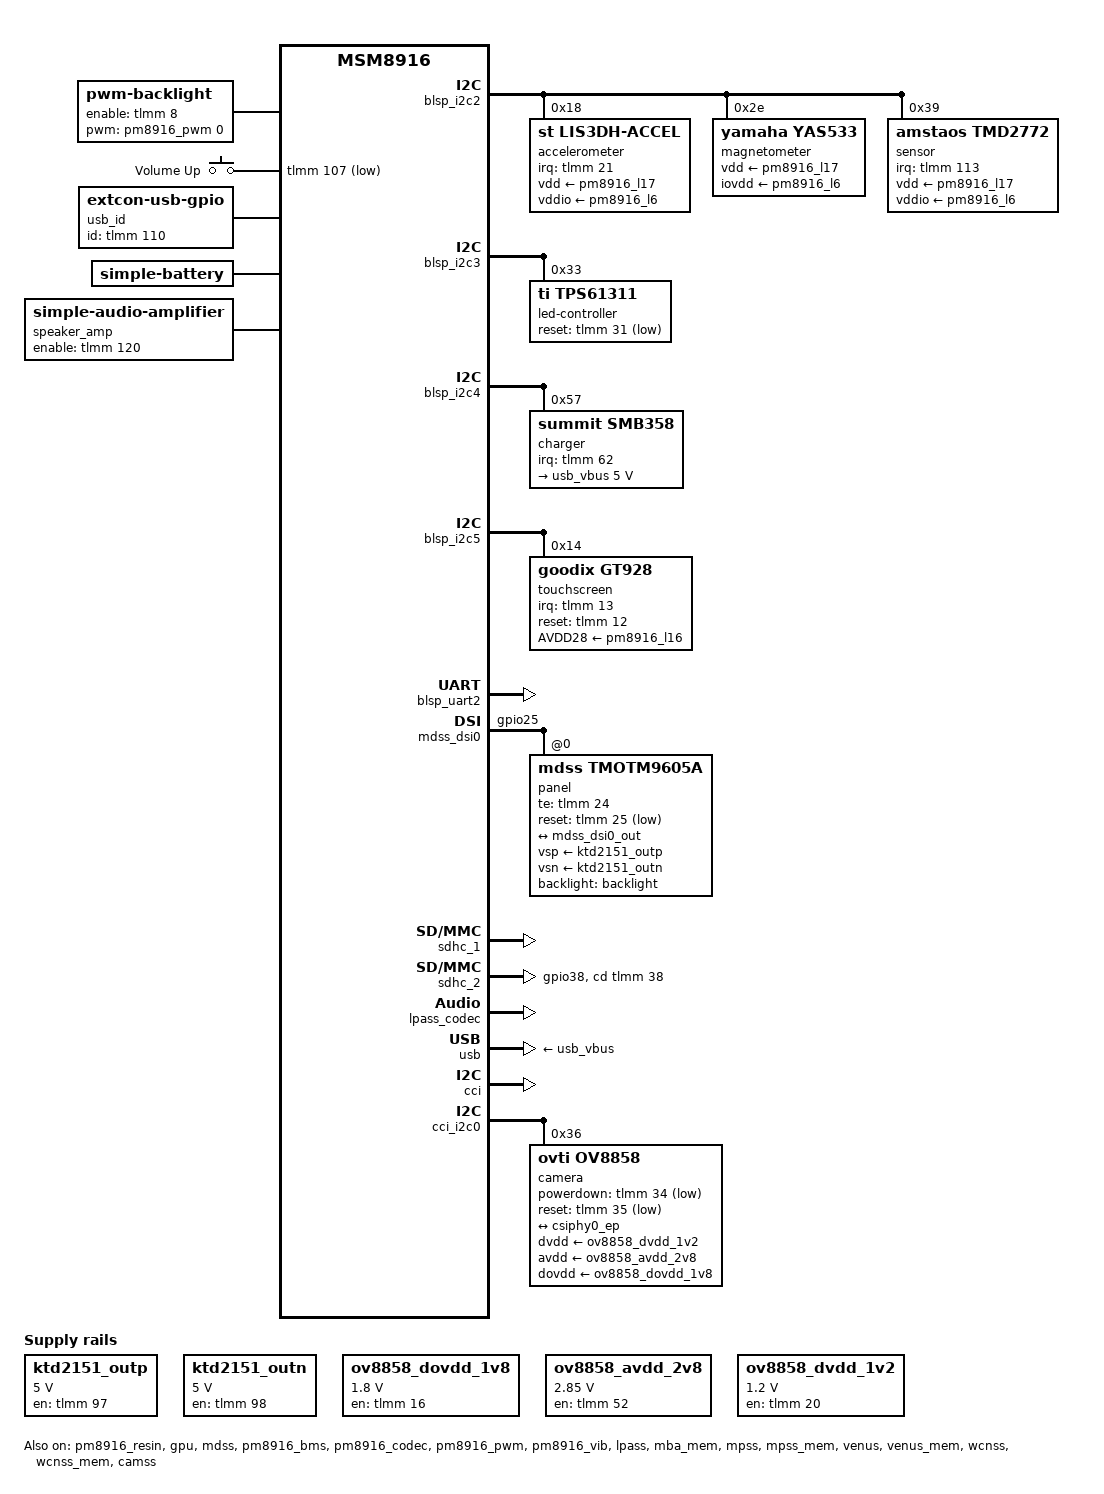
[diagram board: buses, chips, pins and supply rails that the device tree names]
// SPDX-License-Identifier: GPL-2.0-only

/dts-v1/;

#include "msm8916-pm8916.dtsi"
#include "msm8916-modem-qdsp6.dtsi"

#include <dt-bindings/gpio/gpio.h>
#include <dt-bindings/input/input.h>
#include <dt-bindings/interrupt-controller/irq.h>
#include <dt-bindings/leds/common.h>
#include <dt-bindings/pinctrl/qcom,pmic-gpio.h>
#include <dt-bindings/pinctrl/qcom,pmic-mpp.h>
#include <dt-bindings/power/summit,smb347-charger.h>
#include <dt-bindings/sound/apq8016-lpass.h>
#include <dt-bindings/sound/qcom,lpass.h>

/ {
	model = "";
	compatible = "qcom,msm8916";
	chassis-type = "handset";

	aliases {
		mmc0 = &sdhc_1; /* eMMC */
		mmc1 = &sdhc_2; /* SD card */
		serial0 = &blsp_uart2;
	};

	backlight: backlight {
		compatible = "pwm-backlight";
		pwms = <&pm8916_pwm 0 100000>;

		brightness-levels = <0 255>;
		num-interpolated-steps = <255>;
		default-brightness-level = <64>;

		pinctrl-names = "default";
		pinctrl-0 = <&lcd_bl_en_default>;
		enable-gpios = <&tlmm 8 GPIO_ACTIVE_HIGH>;
		post-pwm-on-delay-ms = <10>;
		pwm-off-delay-ms = <10>;
	};

	gpio-keys {
		compatible = "gpio-keys";

		pinctrl-names = "default";
		pinctrl-0 = <&gpio_keys_default>;

		label = "GPIO Buttons";

		button-volume-up {
			label = "Volume Up";
			gpios = <&tlmm 107 GPIO_ACTIVE_LOW>;
			linux,code = <KEY_VOLUMEUP>;
			debounce-interval = <15>;
		};
	};

	usb_id: usb-id {
		compatible = "linux,extcon-usb-gpio";
		id-gpios = <&tlmm 110 GPIO_ACTIVE_HIGH>;
		pinctrl-names = "default";
		pinctrl-0 = <&usb_id_default>;
	};

	battery: battery-cell {
		compatible = "simple-battery";
		over-voltage-threshold-microvolt = <4350000>;
		re-charge-voltage-microvolt = <3400000>;
		voltage-min-design-microvolt = <3450000>;
		voltage-max-design-microvolt = <4300000>;

		precharge-current-microamp = <200000>;
		precharge-upper-limit-microvolt = <3000000>;
		constant-charge-current-max-microamp = <1800000>;
		constant-charge-voltage-max-microvolt = <4250000>;
		trickle-charge-current-microamp = <0>;

		energy-full-design-microwatt-hours = <7600000>;
		charge-full-design-microamp-hours = <2000000>;

		ocv-capacity-celsius = <25>;
		ocv-capacity-table-0 = <4300000 100>, <4250000 95>, <4204000 90>,
			<4152000 85>, <4102000 80>, <4060000 75>, <3998000 70>,
			<3964000 65>, <3924000 60>, <3874000 55>, <3842000 50>,
			<3820000 45>, <3800000 40>, <3785000 35>, <3765000 30>,
			<3758000 25>, <3735000 20>, <3706000 16>, <3690000 13>,
			<3687000 11>, <3686000 10>, <3684000 9>, <3680000 8>,
			<3668000 7>, <3640000 6>, <3596000 5>, <3542000 4>,
			<3472000 3>, <3378000 2>, <3239000 1>, <3000000 0>;
	};

	ktd2151_outp: regulator-ktd2151-outp {
		compatible = "regulator-fixed";

		regulator-name = "ktd2151-outp";
		regulator-min-microvolt = <5000000>;
		regulator-max-microvolt = <5000000>;
		regulator-boot-on;

		gpio = <&tlmm 97 GPIO_ACTIVE_HIGH>;
		enable-active-high;

		pinctrl-names = "default";
		pinctrl-0 = <&lcd_enp_default>;
	};

	ktd2151_outn: regulator-ktd2151-outn {
		compatible = "regulator-fixed";

		regulator-name = "ktd2151-outn";
		regulator-min-microvolt = <5000000>;
		regulator-max-microvolt = <5000000>;
		regulator-boot-on;

		gpio = <&tlmm 98 GPIO_ACTIVE_HIGH>;
		enable-active-high;

		pinctrl-names = "default";
		pinctrl-0 = <&lcd_enn_default>;
	};

	ov8858_dovdd_1v8: regulator-ov8858-dovdd {
		compatible = "regulator-fixed";

		regulator-name = "ov8858_dovdd";
		regulator-min-microvolt = <1800000>;
		regulator-max-microvolt = <1800000>;

		gpios = <&tlmm 16 GPIO_ACTIVE_HIGH>;
		states = <1800000 1>;

		enable-active-high;
	};

	ov8858_avdd_2v8: regulator-ov8858-avdd {
		compatible = "regulator-fixed";

		regulator-name = "ov8858_avdd";
		regulator-min-microvolt = <2850000>;
		regulator-max-microvolt = <2850000>;

		gpios = <&tlmm 52 GPIO_ACTIVE_HIGH>;
		states = <2850000 1>;

		enable-active-high;
	};

	ov8858_dvdd_1v2: regulator-ov8858-dvdd {
		compatible = "regulator-fixed";

		regulator-name = "ov8858_dvdd";
		regulator-min-microvolt = <1200000>;
		regulator-max-microvolt = <1200000>;

		gpios = <&tlmm 20 GPIO_ACTIVE_HIGH>;
		states = <1200000 1>;

		enable-active-high;
	};

	speaker_amp: audio-amplifier {
		compatible = "simple-audio-amplifier";
		enable-gpios = <&tlmm 120 GPIO_ACTIVE_HIGH>;
		sound-name-prefix = "Speaker Amp";
		pinctrl-0 = <&speaker_amp_default>;
		pinctrl-names = "default";
	};
};

&blsp_i2c2 {
	status = "okay";

	accelerometer@18 {
		compatible = "st,lis3dh-accel";
		reg = <0x18>;
		vdd-supply = <&pm8916_l17>;
		vddio-supply = <&pm8916_l6>;
		interrupts-extended = <&tlmm 21 IRQ_TYPE_EDGE_RISING>;
	};

	magnetometer@2e {
		compatible = "yamaha,yas533";
		reg = <0x2e>;
		vdd-supply = <&pm8916_l17>;
		iovdd-supply = <&pm8916_l6>;
	};

	sensor@39 {
		compatible = "amstaos,tmd2772";
		reg = <0x39>;
		interrupts-extended = <&tlmm 113 IRQ_TYPE_EDGE_FALLING>;
		pinctrl-names = "default";
		pinctrl-0 = <&sensor_int_default>;
		vdd-supply = <&pm8916_l17>;
		vddio-supply = <&pm8916_l6>;
		led-max-microamp = <13000>;
	};
};

&blsp_i2c3 {
	status = "okay";

	led-controller@33 {
		compatible = "ti,tps61311", "ti,tps61310";
		reg = <0x33>;

		reset-gpios = <&tlmm 31 GPIO_ACTIVE_LOW>;

		led {
			function = LED_FUNCTION_FLASH;
			color = <LED_COLOR_ID_WHITE>;
			led-sources = <1>, <2>, <3>;
			led-max-microamp = <25000>; //25mA
			flash-max-microamp = <25000>;
			flash-max-timeout-us = <5300>; //5.3ms
		};
	};
};

&blsp_i2c4 {
	status = "okay";

	charger: charger@57 {
		compatible = "summit,smb358";
		reg = <0x57>;

		interrupt-parent = <&tlmm>;
		interrupts = <62 IRQ_TYPE_LEVEL_LOW>;

		pinctrl-names = "default";
		pinctrl-0 = <&smb_int_default>;

		summit,enable-charge-control = <SMB3XX_CHG_ENABLE_SW>;
		summit,inok-polarity = <SMB3XX_SYSOK_INOK_ACTIVE_LOW>;
		summit,fast-voltage-threshold-microvolt = <3000000>;
		summit,chip-temperature-threshold-celsius = <100>;
		summit,usb-current-limit-microamp = <500000>;
		summit,charge-current-compensation-microamp = <200000>;
		summit,enable-usb-charging;
		summit,enable-otg-charging;

		monitored-battery = <&battery>;

		usb_vbus: usb-vbus {
			regulator-name = "usb_vbus";
			regulator-min-microvolt = <5000000>;
			regulator-max-microvolt = <5000000>;
			regulator-min-microamp = <750000>;
			regulator-max-microamp = <750000>;
			summit,needs-inok-toggle;
		};
	};
};

&blsp_i2c5 {
	status = "okay";

	touchscreen@14 { //gt915L
		compatible = "goodix,gt928";
		reg = <0x14>;

		pinctrl-0 = <&gt9xx_int_default>, <&gt9xx_rst_default>;
		pinctrl-names = "default";
		interrupt-parent = <&tlmm>;
		interrupts = <13 IRQ_TYPE_LEVEL_LOW>;
		irq-gpios = <&tlmm 13 GPIO_ACTIVE_HIGH>;
		reset-gpios = <&tlmm 12 GPIO_ACTIVE_HIGH>;
        AVDD28-supply = <&pm8916_l16>;
        touchscreen-size-x = <540>;
        touchscreen-size-y = <960>;
	};
};

&blsp_uart2 {
	status = "okay";
	pinctrl-0 = <&blsp_uart2_console_default>;
	pinctrl-1 = <&blsp_uart2_console_sleep>;
	pinctrl-names = "default", "sleep";
};

&pm8916_resin {
	linux,code = <KEY_VOLUMEDOWN>;
	status = "okay";
};

&gpu {
	status = "okay";
};

&mdss {
	status = "okay";
};

&mdss_dsi0 {
	pinctrl-0 = <&mdss_default>;
	pinctrl-1 = <&mdss_sleep>;
	pinctrl-names = "default", "sleep";

	panel@0 {
		compatible = "mdss,tmotm9605a";
		reg = <0>;

		backlight = <&backlight>;

		vsp-supply = <&ktd2151_outp>;
		vsn-supply = <&ktd2151_outn>;
		te-gpios = <&tlmm 24 GPIO_ACTIVE_HIGH>;
		reset-gpios = <&tlmm 25 GPIO_ACTIVE_LOW>;

		port {
			panel_in: endpoint {
				remote-endpoint = <&mdss_dsi0_out>;
			};
		};
	};
};

&mdss_dsi0_out {
	data-lanes = <0 1>;
	remote-endpoint = <&panel_in>;
};

&mdss_dsi0_phy {
	qcom,dsi-phy-regulator-ldo-mode;
};

&pm8916_bms {
	monitored-battery = <&battery>;
	status = "okay";
};

&pm8916_codec {
	status = "okay";

	jack-gpios = <&tlmm 9 GPIO_ACTIVE_LOW>;
	qcom,micbias-lvl = <2800>;
	qcom,mbhc-vthreshold-low = <75 100 120 180 500>;
	qcom,mbhc-vthreshold-high = <75 100 120 180 500>;
	qcom,hphl-jack-type-normally-open;

	pinctrl-names = "default";
	pinctrl-0 = <&jack_default>;
};

&pm8916_pwm {
	status = "okay";
	pinctrl-names = "default";
	pinctrl-0 = <&pwm_out>;
};

&pm8916_rpm_regulators {
	pm8916_l16: l16 {
		regulator-min-microvolt = <2850000>;
		regulator-max-microvolt = <2850000>;
	};

	pm8916_l17: l17 {
		regulator-min-microvolt = <2850000>;
		regulator-max-microvolt = <2850000>;
	};
};

&pm8916_vib {
	status = "okay";
};

&sdhc_1 {
	status = "okay";
};

&sdhc_2 {
	status = "okay";

	pinctrl-names = "default", "sleep";
	pinctrl-0 = <&sdc2_default &sdc2_cd_default>;
	pinctrl-1 = <&sdc2_sleep &sdc2_cd_default>;
	cd-gpios = <&tlmm 38 GPIO_ACTIVE_HIGH>;
};

&lpass {
	status = "okay";
};

&lpass_codec {
	status = "okay";
};

&mba_mem {
	status = "okay";
};

&mpss {
	status = "okay";

	firmware-name = "qcom/apq8016/mba.mbn", "qcom/apq8016/modem.mbn";
};

&mpss_mem {
	status = "okay";
	reg = <0x0 0x86800000 0x0 0x5100000>;
};

&sound {
	status = "okay";

	pinctrl-0 = <&cdc_pdm_default>;
	pinctrl-1 = <&cdc_pdm_sleep>;
	pinctrl-names = "default", "sleep";

	model = "msm8916";

	widgets =
		"Speaker", "Speaker",
		"Headphone", "Headphones";
	pin-switches = "Speaker";

	audio-routing =
		"Speaker", "Speaker Amp OUTL",
		"Speaker", "Speaker Amp OUTR",
		"Speaker Amp INL", "HPH_L",
		"Speaker Amp INR", "HPH_L",
		"Headphones", "HPH_L",
		"Headphones", "HPH_R",
		"AMIC1", "MIC BIAS External1",
		"AMIC2", "MIC BIAS Internal2";

	aux-devs = <&speaker_amp>;
};

&usb {
	status = "okay";
	extcon = <&usb_id>, <&usb_id>;
	vbus-supply = <&usb_vbus>;
};

&usb_hs_phy {
	extcon = <&usb_id>;
};

&venus {
	status = "okay";
};

&venus_mem {
	status = "okay";
};

&wcnss {
	status = "okay";
};

&wcnss_iris {
	compatible = "qcom,wcn3620";
};

&wcnss_mem {
	status = "okay";
};

&camss {
	status = "okay";

	ports {
		port@0 {
			reg = <0>;
			csiphy0_ep: endpoint {
				data-lanes = <0 1 2 3>;
				remote-endpoint = <&ov8858_ep>;
			};
		};
	};
};

&cci {
	status = "okay";
};

&cci_i2c0 {
	camera@36 {
		compatible = "ovti,ov8858";
		reg = <0x36>;

		powerdown-gpios = <&tlmm 34 GPIO_ACTIVE_LOW>;
		reset-gpios = <&tlmm 35 GPIO_ACTIVE_LOW>;
		pinctrl-names = "default";
		pinctrl-0 = <&camera_rear_default>;

		clocks = <&gcc GCC_CAMSS_MCLK0_CLK>;
		clock-names = "xvclk";
		assigned-clocks = <&gcc GCC_CAMSS_MCLK0_CLK>;
		assigned-clock-rates = <23880000>;

		dvdd-supply = <&ov8858_dvdd_1v2>;
		avdd-supply = <&ov8858_avdd_2v8>;
		dovdd-supply = <&ov8858_dovdd_1v8>;

		port {
			ov8858_ep: endpoint {
				data-lanes = <0 1 2 3>;
				remote-endpoint = <&csiphy0_ep>;
			};
		};
	};
};

&tlmm {
	gpio_keys_default: gpio-keys-default-state {
		pins = "gpio107", "gpio117";
		function = "gpio";

		drive-strength = <2>;
		bias-pull-up;
	};

	mdss_default: mdss-default-state {
		pins = "gpio25";
		function = "gpio";
		drive-strength = <8>;
		bias-disable = <0>;
	};

	mdss_sleep: mdss-sleep-state {
		pins = "gpio25";
		function = "gpio";
		drive-strength = <2>;
		bias-pull-down;
	};

	lcd_bl_en_default: lcd-bl-en-default-state {
		pins = "gpio8";
		function = "gpio";

		drive-strength = <2>;
		bias-disable;
	};

	lcd_enp_default: lcd-enp-default-state {
		pins = "gpio97";
		function = "gpio";

		drive-strength = <2>;
		bias-disable;
	};

	lcd_enn_default: lcd-enn-default-state {
		pins = "gpio98";
		function = "gpio";

		drive-strength = <2>;
		bias-disable;
	};

	sensor_int_default: sensor-int-default-state {
		pins = "gpio113";
		function = "gpio";

		drive-strength = <2>;
		bias-disable;
	};

	speaker_amp_default: speaker-amp-default-state {
		pins = "gpio120";
		function = "gpio";
		drive-strength = <2>;
		bias-disable;
	};

	jack_default: jack-default-state {
		pins = "gpio9";
		function = "gpio";

		drive-strength = <2>;
		bias-disable;
	};

	gt9xx_int_default: gt9xx-int-default-state {
		pins = "gpio13";
		function = "gpio";
		drive-strength = <2>;
		bias-disable;
	};

	gt9xx_rst_default: gt9xx-rst-default-state {
		pins = "gpio12";
		function = "gpio";
		drive-strength = <2>;
		bias-disable;
	};

	sdc2_cd_default: sdc2-cd-default-state {
		pins = "gpio38";
		function = "gpio";
		drive-strength = <2>;
		bias-disable;
	};

	smb_int_default: smb-int-default-state {
		pins = "gpio62";
		function = "gpio";

		drive-strength = <2>;
		bias-disable;
	};

	usb_id_default: usb-id-default-state {
		pins = "gpio110";
		function = "gpio";

		drive-strength = <8>;
		bias-pull-up;
	};
};

&pm8916_mpps {
	pwm_out: mpp4-state {
		pins = "mpp4";
		function = "digital";
		power-source = <PM8916_MPP_VPH>;
		output-low;
		qcom,dtest = <1>;
	};
};
